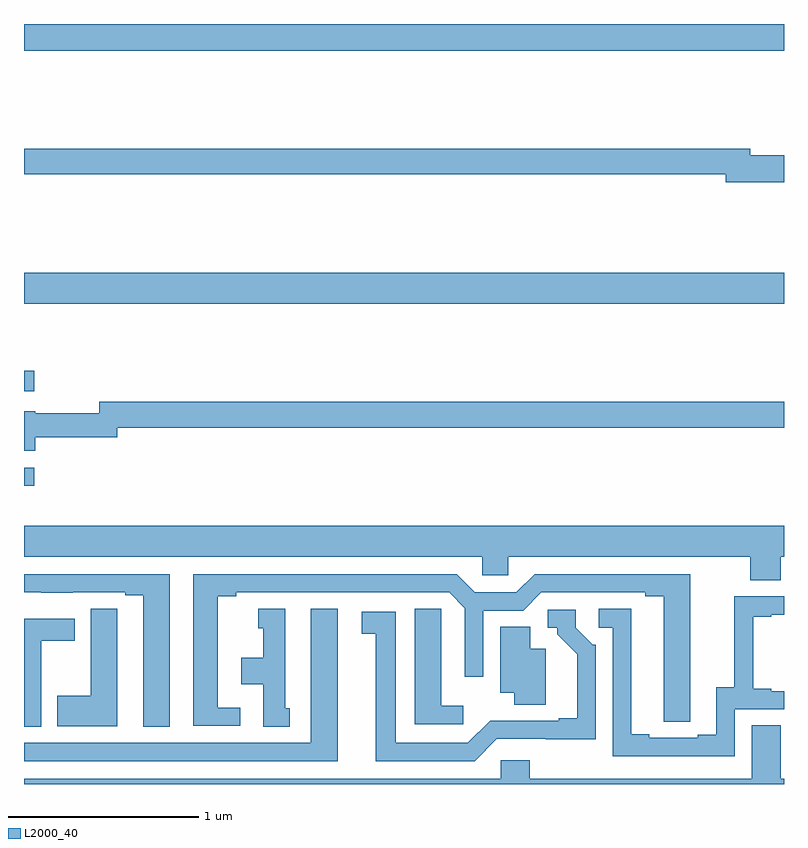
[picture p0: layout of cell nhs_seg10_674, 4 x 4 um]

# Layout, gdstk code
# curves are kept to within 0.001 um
import gdstk
lib = gdstk.Library(unit=1e-6, precision=1e-09)
def R(c, l, rs):  # rectangles x0, y0, x1, y1
    for r in rs: c.add(gdstk.rectangle(r[:2], r[2:], *l))
def P(c, l, *ps):  # polygons
    for p in ps: c.add(gdstk.Polygon(p, *l))
L2000_40 = (2000, 40)

nhs_seg10_674 = lib.new_cell('nhs_seg10_674')
R(nhs_seg10_674, L2000_40, [(145,1254.069,145.054,1254.165), (145,1254.567,145.054,1254.676), (145,1255.028,149,1255.192), (145,1256.36,149,1256.5)])
P(nhs_seg10_674, L2000_40, [(149,1255.808),(148.822,1255.808),(148.822,1255.844),(145,1255.844),(145,1255.708),(148.694,1255.708),(148.694,1255.666),(149,1255.666)],
  [(145.06,1254.324),(145.491,1254.324),(145.491,1254.376),(149,1254.376),(149,1254.512),(145.395,1254.512),(145.395,1254.452),(145.06,1254.452),(145.06,1254.463),(145,1254.463),(145,1254.254),(145.06,1254.254)],
  [(148.982,1253.696),(149,1253.696),(149,1253.86),(145,1253.86),(145,1253.696),(147.411,1253.696),(147.411,1253.598),(147.549,1253.598),(147.549,1253.696),(148.822,1253.696),(148.822,1253.572),(148.982,1253.572)],
  [(145.768,1253.604),(145,1253.604),(145,1253.508),(145.09,1253.508),(145.09,1253.507),(145.256,1253.507),(145.256,1253.508),(145.532,1253.508),(145.532,1253.493),(145.628,1253.493),(145.628,1252.801),(145.768,1252.801)],
  [(146.137,1252.902),(146.02,1252.902),(146.02,1253.488),(146.116,1253.488),(146.116,1253.508),(147.237,1253.508),(147.321,1253.424),(147.321,1253.064),(147.417,1253.064),(147.417,1253.412),(147.627,1253.412),(147.723,1253.508),(148.271,1253.508),(148.271,1253.488),(148.367,1253.488),(148.367,1252.828),(148.506,1252.828),(148.507,1253.604),(147.687,1253.604),(147.591,1253.508),(147.373,1253.508),(147.277,1253.604),(145.892,1253.604),(145.892,1252.806),(146.137,1252.806)],
  [(148.74,1252.893),(149,1252.893),(149,1252.989),(148.933,1252.989),(148.933,1253.002),(148.838,1253.002),(148.838,1253.379),(148.933,1253.379),(148.933,1253.391),(149,1253.391),(149,1253.487),(148.738,1253.487),(148.738,1253.009),(148.643,1253.009),(148.643,1252.758),(148.547,1252.758),(148.547,1252.743),(148.291,1252.743),(148.291,1252.763),(148.195,1252.763),(148.195,1253.423),(148.026,1253.423),(148.026,1253.322),(148.098,1253.322),(148.098,1252.647),(148.74,1252.647)],
  [(147.313,1252.912),(147.196,1252.912),(147.196,1253.315),(147.195,1253.315),(147.195,1253.423),(147.056,1253.423),(147.056,1252.815),(147.313,1252.815)],
  [(145.492,1253.315),(145.491,1253.315),(145.491,1253.423),(145.352,1253.423),(145.352,1252.965),(145.175,1252.965),(145.175,1252.805),(145.492,1252.805)],
  [(146.65,1253.422),(146.51,1253.422),(146.51,1252.716),(145,1252.716),(145,1252.62),(146.65,1252.62)],
  [(146.398,1252.899),(146.374,1252.899),(146.374,1253.422),(146.234,1253.422),(146.234,1253.319),(146.258,1253.319),(146.258,1253.164),(146.144,1253.164),(146.144,1253.024),(146.258,1253.024),(146.258,1252.801),(146.398,1252.801)],
  [(147.489,1252.737),(148.008,1252.736),(148.008,1253.232),(147.993,1253.232),(147.903,1253.322),(147.903,1253.418),(147.756,1253.418),(147.756,1253.322),(147.806,1253.322),(147.806,1253.287),(147.911,1253.182),(147.911,1252.846),(147.815,1252.846),(147.815,1252.833),(147.454,1252.834),(147.336,1252.716),(146.956,1252.716),(146.956,1253.406),(146.778,1253.406),(146.778,1253.29),(146.852,1253.29),(146.852,1252.62),(147.372,1252.62)],
  [(145.09,1253.254),(145.267,1253.254),(145.267,1253.37),(145,1253.37),(145,1252.801),(145.09,1252.801)],
  [(147.745,1253.212),(147.664,1253.212),(147.664,1253.327),(147.506,1253.327),(147.506,1252.979),(147.581,1252.979),(147.581,1252.918),(147.745,1252.918)],
  [(149,1252.528),(148.982,1252.528),(148.982,1252.808),(148.829,1252.808),(148.829,1252.528),(147.662,1252.528),(147.662,1252.626),(147.51,1252.626),(147.51,1252.528),(145,1252.528),(145,1252.5),(149,1252.5)])

lib.write_gds('nhs_seg10_674.gds')
